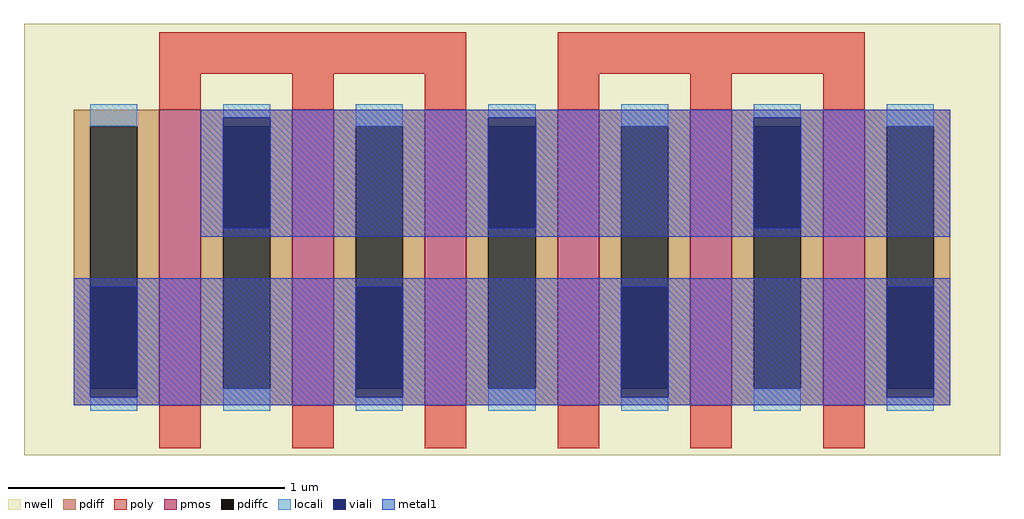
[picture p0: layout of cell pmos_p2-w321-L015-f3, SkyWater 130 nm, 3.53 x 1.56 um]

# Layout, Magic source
magic
tech sky130B
magscale 1 2
<< nwell >>
rect -353 -143 353 169
<< pmos >>
rect -255 -107 -225 107
rect -159 -107 -129 107
rect -63 -107 -33 107
rect 33 -107 63 107
rect 129 -107 159 107
rect 225 -107 255 107
<< pdiff >>
rect -317 95 -255 107
rect -317 -95 -305 95
rect -271 -95 -255 95
rect -317 -107 -255 -95
rect -225 95 -159 107
rect -225 -95 -209 95
rect -175 -95 -159 95
rect -225 -107 -159 -95
rect -129 95 -63 107
rect -129 -95 -113 95
rect -79 -95 -63 95
rect -129 -107 -63 -95
rect -33 95 33 107
rect -33 -95 -17 95
rect 17 -95 33 95
rect -33 -107 33 -95
rect 63 95 129 107
rect 63 -95 79 95
rect 113 -95 129 95
rect 63 -107 129 -95
rect 159 95 225 107
rect 159 -95 175 95
rect 209 -95 225 95
rect 159 -107 225 -95
rect 255 95 317 107
rect 255 -95 271 95
rect 305 -95 317 95
rect 255 -107 317 -95
<< pdiffc >>
rect -305 -95 -271 95
rect -209 -95 -175 95
rect -113 -95 -79 95
rect -17 -95 17 95
rect 79 -95 113 95
rect 175 -95 209 95
rect 271 -95 305 95
<< poly >>
rect -255 133 -33 163
rect -255 107 -225 133
rect -159 107 -129 133
rect -63 107 -33 133
rect 33 133 255 163
rect 33 107 63 133
rect 129 107 159 133
rect 225 107 255 133
rect -255 -138 -225 -107
rect -159 -138 -129 -107
rect -63 -138 -33 -107
rect 33 -138 63 -107
rect 129 -138 159 -107
rect 225 -138 255 -107
<< locali >>
rect -305 95 -271 111
rect -305 -111 -271 -101
rect -209 101 -175 111
rect -209 -111 -175 -95
rect -113 95 -79 111
rect -113 -111 -79 -101
rect -17 101 17 111
rect -17 -111 17 -95
rect 79 95 113 111
rect 79 -111 113 -101
rect 175 101 209 111
rect 175 -111 209 -95
rect 271 95 305 111
rect 271 -111 305 -101
<< viali >>
rect -305 -95 -271 -21
rect -305 -101 -271 -95
rect -209 95 -175 101
rect -209 21 -175 95
rect -113 -95 -79 -21
rect -113 -101 -79 -95
rect -17 95 17 101
rect -17 21 17 95
rect 79 -95 113 -21
rect 79 -101 113 -95
rect 175 95 209 101
rect 175 21 209 95
rect 271 -95 305 -21
rect 271 -101 305 -95
<< metal1 >>
rect -225 101 317 107
rect -225 21 -209 101
rect -175 21 -17 101
rect 17 21 175 101
rect 209 21 317 101
rect -225 15 317 21
rect -317 -21 317 -15
rect -317 -101 -305 -21
rect -271 -101 -113 -21
rect -79 -101 79 -21
rect 113 -101 271 -21
rect 305 -101 317 -21
rect -317 -107 317 -101
<< properties >>
string gencell sky130_fd_pr__pfet_01v8
string library sky130
string parameters w 1.07 l 0.15 m 1 nf 6 diffcov 100 polycov 100 guard 0 glc 1 grc 1 gtc 1 gbc 1 tbcov 100 rlcov 100 topc 0 botc 0 poverlap 0 doverlap 1 lmin 0.15 wmin 0.42 compatible {sky130_fd_pr__pfet_01v8  sky130_fd_pr__pfet_01v8_lvt sky130_fd_pr__pfet_01v8_hvt  sky130_fd_pr__pfet_g5v0d10v5} full_metal 1 viasrc 100 viadrn 100 viagate 100 viagb 0 viagr 0 viagl 0 viagt 0
<< end >>
